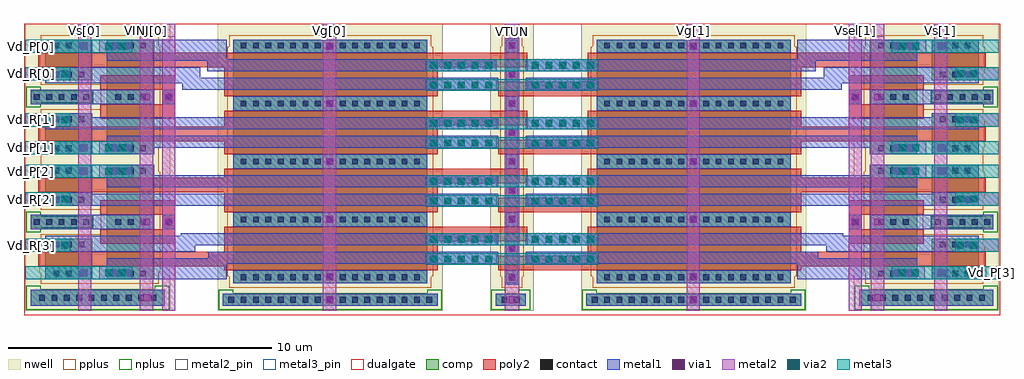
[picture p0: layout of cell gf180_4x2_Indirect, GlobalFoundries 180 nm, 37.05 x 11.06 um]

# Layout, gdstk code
import gdstk
lib = gdstk.Library(unit=1e-6, precision=1e-09)
def R(c, l, rs):  # rectangles x0, y0, x1, y1
    for r in rs: c.add(gdstk.rectangle(r[:2], r[2:], *l))
def A(c, l, x, y, w, h, nx, ny, dx, dy):  # array of equal rectangles
    R(c, l, [(x+i*dx, y+j*dy, x+i*dx+w, y+j*dy+h) for i in range(nx) for j in range(ny)])
nwell = (21, 0)
comp = (22, 0)
poly2 = (30, 0)
pplus = (31, 0)
nplus = (32, 0)
contact = (33, 0)
metal1 = (34, 0)
via1 = (35, 0)
metal2 = (36, 0)
metal2_pin = (36, 10)
via2 = (38, 0)
metal3 = (42, 0)
metal3_pin = (42, 10)
dualgate = (55, 0)

gf180_4x2_indirect = lib.new_cell('gf180_4x2_Indirect')
R(gf180_4x2_indirect, nwell, [(-2.25,-0.8,3.25,10.1), (5.05,-0.8,13.6,10.1), (15.4,-0.8,17.05,10.1), (18.85,-0.8,27.4,10.1), (29.2,-0.8,34.7,10.1)])
R(gf180_4x2_indirect, comp, [(-2.05,-0.6,3.05,0), (5.25,-0.6,13.4,-0.15), (15.6,-0.6,16.75,-0.15), (19.05,-0.6,27.2,-0.15), (29.4,-0.6,34.5,0), (5.65,0.25,13,9.5), (16,0.25,16.45,9.5), (19.45,0.25,26.8,9.5), (-1.5,0.4,0.3,1.95), (0.85,0.4,2.65,4.75), (29.8,0.4,31.6,4.75), (32.15,0.4,33.95,1.95), (-2.05,2.35,0.3,2.8), (32.15,2.35,34.5,2.8), (-1.5,3.2,0.3,4.75), (32.15,3.2,33.95,4.75), (-1.5,5.15,0.3,6.7), (0.85,5.15,2.65,9.5), (29.8,5.15,31.6,9.5), (32.15,5.15,33.95,6.7), (-2.05,7.1,0.3,7.55), (32.15,7.1,34.5,7.55), (-1.5,7.95,0.3,9.5), (32.15,7.95,33.95,9.5)])
R(gf180_4x2_indirect, poly2, [(5.3,0.75,13.4,0.9), (15.7,0.75,27.2,0.9), (-1.75,0.9,13.4,1.45), (15.7,0.9,34.2,1.3), (19.1,1.3,34.2,1.45), (5.3,1.45,13.4,1.85), (19.1,1.45,27.2,2.4), (0.6,1.75,3.45,2.3), (29,1.75,31.85,2.3), (5.3,1.85,16.8,2.4), (2.95,2.3,3.45,2.85), (29,2.3,29.5,2.85), (0.6,2.85,3.45,3.4), (29,2.85,31.85,3.4), (5.3,2.95,13.4,3.7), (15.7,2.95,27.2,3.5), (19.1,3.5,27.2,3.7), (-1.75,3.7,13.4,4.05), (19.1,3.7,34.2,4.25), (-1.75,4.05,16.8,4.25), (5.3,4.25,16.8,4.6), (19.1,4.25,27.2,4.6), (5.3,5.15,13.4,5.65), (15.7,5.15,27.2,5.65), (-1.75,5.65,13.4,6.2), (15.7,5.65,34.2,5.7), (19.1,5.7,34.2,6.2), (5.3,6.2,13.4,6.25), (19.1,6.2,27.2,6.8), (5.3,6.25,16.8,6.8), (0.6,6.5,3.45,7.05), (29,6.5,31.85,7.05), (2.95,7.05,3.45,7.6), (29,7.05,29.5,7.6), (5.3,7.35,13.4,8.45), (15.7,7.35,27.2,7.9), (0.6,7.6,3.45,8.15), (29,7.6,31.85,8.15), (19.1,7.9,27.2,8.45), (-1.75,8.45,16.8,9), (19.1,8.45,34.2,9)])
R(gf180_4x2_indirect, pplus, [(5.49,0.09,13.16,0.52), (15.84,0.09,16.61,0.52), (19.29,0.09,26.96,0.52), (-1.66,0.24,2.81,0.67), (29.64,0.24,34.11,0.67), (5.42,0.52,13.23,9.23), (15.77,0.52,16.68,9.23), (19.22,0.52,27.03,9.23), (-1.73,0.67,2.88,1.68), (29.57,0.67,34.18,1.68), (-1.66,1.68,2.88,2.11), (29.57,1.68,34.11,2.11), (0.62,2.11,2.88,3.04), (29.57,2.11,31.83,3.04), (-1.66,3.04,2.88,3.47), (29.57,3.04,34.11,3.47), (-1.73,3.47,2.88,4.48), (29.57,3.47,34.18,4.48), (-1.66,4.48,2.81,5.42), (29.64,4.48,34.11,5.42), (-1.73,5.42,2.88,6.43), (29.57,5.42,34.18,6.43), (-1.66,6.43,2.88,6.86), (29.57,6.43,34.11,6.86), (0.62,6.86,2.88,7.79), (29.57,6.86,31.83,7.79), (-1.66,7.79,2.88,8.22), (29.57,7.79,34.11,8.22), (-1.73,8.22,2.88,9.23), (29.57,8.22,34.18,9.23), (-1.66,9.23,2.81,9.66), (5.49,9.23,13.16,9.66), (15.84,9.23,16.61,9.66), (19.29,9.23,26.96,9.66), (29.64,9.23,34.11,9.66)])
R(gf180_4x2_indirect, nplus, [(-2.21,-0.76,3.21,0.02), (5.09,-0.76,13.56,-0.13), (15.44,-0.76,16.91,-0.13), (18.89,-0.76,27.36,-0.13), (29.24,-0.76,34.66,0.02), (5.09,-0.13,5.64,0.01), (13.01,-0.13,13.56,0.01), (15.44,-0.13,15.99,0.01), (16.46,-0.13,16.91,0.01), (18.89,-0.13,19.44,0.01), (26.81,-0.13,27.36,0.01), (-2.21,0.02,-1.66,0.16), (2.66,0.02,3.21,0.16), (29.24,0.02,29.79,0.16), (34.11,0.02,34.66,0.16), (-2.21,2.19,-1.66,2.33), (34.11,2.19,34.66,2.33), (-2.21,2.33,0.32,2.82), (32.13,2.33,34.66,2.82), (-2.21,2.82,-1.66,2.96), (34.11,2.82,34.66,2.96), (-2.21,6.94,-1.66,7.08), (34.11,6.94,34.66,7.08), (-2.21,7.08,0.32,7.57), (32.13,7.08,34.66,7.57), (-2.21,7.57,-1.66,7.71), (34.11,7.57,34.66,7.71)])
A(gf180_4x2_indirect, contact, 5.455, -0.485, 0.22, 0.22, 17, 1, 0.47, 0)
A(gf180_4x2_indirect, contact, 19.255, -0.485, 0.22, 0.22, 17, 1, 0.47, 0)
A(gf180_4x2_indirect, contact, -1.725, -0.41, 0.22, 0.22, 10, 1, 0.47, 0)
A(gf180_4x2_indirect, contact, 29.725, -0.41, 0.22, 0.22, 10, 1, 0.47, 0)
A(gf180_4x2_indirect, contact, 5.925, 0.365, 0.22, 0.22, 15, 5, 0.47, 2.2)
A(gf180_4x2_indirect, contact, 16.115, 0.365, 0.22, 0.22, 1, 9, 0, 1.1)
A(gf180_4x2_indirect, contact, 19.725, 0.365, 0.22, 0.22, 15, 5, 0.47, 2.2)
A(gf180_4x2_indirect, contact, -1.18, 0.515, 0.22, 0.22, 3, 2, 0.47, 1.1)
A(gf180_4x2_indirect, contact, 1.17, 0.515, 0.22, 0.22, 3, 3, 0.47, 1.95)
A(gf180_4x2_indirect, contact, 30.12, 0.515, 0.22, 0.22, 3, 3, 0.47, 1.95)
A(gf180_4x2_indirect, contact, 32.47, 0.515, 0.22, 0.22, 3, 2, 0.47, 1.1)
A(gf180_4x2_indirect, contact, -1.925, 2.465, 0.22, 0.22, 5, 2, 0.47, 4.75)
A(gf180_4x2_indirect, contact, 32.275, 2.465, 0.22, 0.22, 5, 2, 0.47, 4.75)
A(gf180_4x2_indirect, contact, -1.18, 3.315, 0.22, 0.22, 3, 2, 0.47, 1.1)
A(gf180_4x2_indirect, contact, 32.47, 3.315, 0.22, 0.22, 3, 2, 0.47, 1.1)
A(gf180_4x2_indirect, contact, -1.18, 5.265, 0.22, 0.22, 3, 2, 0.47, 1.1)
A(gf180_4x2_indirect, contact, 1.17, 5.265, 0.22, 0.22, 3, 3, 0.47, 1.95)
A(gf180_4x2_indirect, contact, 30.12, 5.265, 0.22, 0.22, 3, 3, 0.47, 1.95)
A(gf180_4x2_indirect, contact, 32.47, 5.265, 0.22, 0.22, 3, 2, 0.47, 1.1)
A(gf180_4x2_indirect, contact, -1.18, 8.065, 0.22, 0.22, 3, 2, 0.47, 1.1)
A(gf180_4x2_indirect, contact, 32.47, 8.065, 0.22, 0.22, 3, 2, 0.47, 1.1)
R(gf180_4x2_indirect, contact, [(15.83,-0.485,16.05,-0.265), (16.3,-0.485,16.52,-0.265), (3.09,2.465,3.31,2.685), (29.14,2.465,29.36,2.685), (3.09,7.215,3.31,7.435), (29.14,7.215,29.36,7.435)])
A(gf180_4x2_indirect, metal1, 15.95, 0.2, 0.55, 0.55, 1, 9, 0, 1.1)
A(gf180_4x2_indirect, metal1, 5.65, 2.4, 7.35, 0.55, 1, 3, 0, 2.2)
A(gf180_4x2_indirect, metal1, 19.45, 2.4, 7.35, 0.55, 1, 3, 0, 2.2)
R(gf180_4x2_indirect, metal1, [(-2.05,-0.6,3.05,0), (5.25,-0.6,13.4,-0.15), (15.6,-0.6,16.75,-0.15), (19.05,-0.6,27.2,-0.15), (29.4,-0.6,34.5,0), (5.65,0.25,13,0.75), (19.45,0.25,26.8,0.75), (-1.5,0.4,0.3,0.9), (0.85,0.4,5.4,1), (27.05,0.4,31.6,1), (32.15,0.4,33.95,0.9), (0.85,1,15.7,1.2), (16.75,1,31.6,1.2), (4.7,1.2,15.7,1.45), (16.75,1.2,27.85,1.45), (-1.5,1.45,4.2,1.7), (28.15,1.45,33.95,1.7), (-1.5,1.7,15.7,2.05), (16.75,1.7,33.95,2.05), (3.65,2.05,15.7,2.15), (16.75,2.05,28.8,2.15), (-2.05,2.3,2.65,2.85), (2.95,2.3,3.45,2.85), (29,2.3,29.5,2.85), (29.8,2.3,34.5,2.85), (-1.5,3.2,15.7,3.65), (16.75,3.2,33.95,3.65), (-1.5,3.65,0.3,3.7), (32.15,3.65,33.95,3.7), (0.85,3.9,15.7,4.35), (16.75,3.9,31.6,4.35), (-1.5,4.25,0.3,4.75), (32.15,4.25,33.95,4.75), (0.85,4.35,2.65,4.75), (29.8,4.35,31.6,4.75), (-1.5,5.15,0.3,5.65), (0.85,5.15,2.65,5.4), (29.8,5.15,31.6,5.4), (32.15,5.15,33.95,5.65), (0.85,5.4,15.7,5.85), (16.75,5.4,31.6,5.85), (-1.5,6.1,15.7,6.55), (16.75,6.1,33.95,6.55), (-1.5,6.55,0.3,6.7), (32.15,6.55,33.95,6.7), (-2.05,7.05,2.65,7.6), (2.95,7.05,3.45,7.6), (29,7.05,29.5,7.6), (29.8,7.05,34.5,7.6), (3.7,7.6,15.7,7.85), (16.75,7.6,28.75,7.85), (-1.5,7.85,15.7,8.05), (16.75,7.85,33.95,8.05), (-1.5,8.05,4.4,8.45), (28.05,8.05,33.95,8.45), (4.65,8.3,15.65,8.7), (16.75,8.3,27.75,8.7), (0.85,8.7,15.65,8.75), (16.75,8.7,31.6,8.75), (0.85,8.75,5.4,9.5), (27.05,8.75,31.6,9.5), (-1.5,9,0.3,9.5), (5.65,9,13,9.5), (19.45,9,26.8,9.5), (32.15,9,33.95,9.5)])
A(gf180_4x2_indirect, via1, 16.095, 0.345, 0.26, 0.26, 1, 9, 0, 1.1)
A(gf180_4x2_indirect, via1, 13.13, 1.045, 0.26, 0.26, 5, 2, 0.52, 0.75)
A(gf180_4x2_indirect, via1, 16.98, 1.045, 0.26, 0.26, 5, 2, 0.52, 0.75)
A(gf180_4x2_indirect, via1, 9.17, 2.545, 0.26, 0.26, 1, 3, 0, 2.2)
A(gf180_4x2_indirect, via1, 22.97, 2.545, 0.26, 0.26, 1, 3, 0, 2.2)
A(gf180_4x2_indirect, via1, 13.13, 3.245, 0.26, 0.26, 5, 2, 0.52, 0.75)
A(gf180_4x2_indirect, via1, 16.98, 3.245, 0.26, 0.26, 5, 2, 0.52, 0.75)
A(gf180_4x2_indirect, via1, 13.13, 5.445, 0.26, 0.26, 5, 2, 0.52, 0.75)
A(gf180_4x2_indirect, via1, 16.98, 5.445, 0.26, 0.26, 5, 2, 0.52, 0.75)
A(gf180_4x2_indirect, via1, 13.13, 7.645, 0.26, 0.26, 5, 2, 0.52, 0.75)
A(gf180_4x2_indirect, via1, 16.98, 7.645, 0.26, 0.26, 5, 2, 0.52, 0.75)
R(gf180_4x2_indirect, via1, [(9.17,-0.505,9.43,-0.245), (16.095,-0.505,16.355,-0.245), (22.97,-0.505,23.23,-0.245), (2.22,-0.43,2.48,-0.17), (29.97,-0.43,30.23,-0.17), (9.17,0.37,9.43,0.63), (22.97,0.37,23.23,0.63), (-0.155,0.52,0.105,0.78), (0.935,0.52,1.195,0.78), (1.455,0.52,1.715,0.78), (30.735,0.52,30.995,0.78), (31.255,0.52,31.515,0.78), (32.37,0.52,32.63,0.78), (-1.415,1.57,-1.155,1.83), (-0.895,1.57,-0.635,1.83), (33.11,1.57,33.37,1.83), (33.63,1.57,33.89,1.83), (2.22,2.445,2.48,2.705), (3.07,2.445,3.33,2.705), (29.12,2.445,29.38,2.705), (29.97,2.445,30.23,2.705), (-1.415,3.32,-1.155,3.58), (-0.895,3.32,-0.635,3.58), (33.11,3.32,33.37,3.58), (33.63,3.32,33.89,3.58), (-0.155,4.37,0.105,4.63), (0.935,4.37,1.195,4.63), (1.455,4.37,1.715,4.63), (30.735,4.37,30.995,4.63), (31.255,4.37,31.515,4.63), (32.37,4.37,32.63,4.63), (-0.155,5.27,0.105,5.53), (0.935,5.27,1.195,5.53), (1.455,5.27,1.715,5.53), (30.735,5.27,30.995,5.53), (31.255,5.27,31.515,5.53), (32.37,5.27,32.63,5.53), (-1.415,6.32,-1.155,6.58), (-0.895,6.32,-0.635,6.58), (33.11,6.32,33.37,6.58), (33.63,6.32,33.89,6.58), (2.22,7.195,2.48,7.455), (3.07,7.195,3.33,7.455), (29.12,7.195,29.38,7.455), (29.97,7.195,30.23,7.455), (-1.415,8.07,-1.155,8.33), (-0.895,8.07,-0.635,8.33), (33.11,8.07,33.37,8.33), (33.63,8.07,33.89,8.33), (-0.155,9.12,0.105,9.38), (0.935,9.12,1.195,9.38), (1.455,9.12,1.715,9.38), (9.17,9.12,9.43,9.38), (22.97,9.12,23.23,9.38), (30.735,9.12,30.995,9.38), (31.255,9.12,31.515,9.38), (32.37,9.12,32.63,9.38)])
R(gf180_4x2_indirect, metal2, [(-0.25,-0.8,0.25,10.1), (2.1,-0.8,2.6,10.1), (2.95,-0.8,3.45,10.1), (9.05,-0.8,9.55,10.1), (15.95,-0.8,16.5,10.1), (22.85,-0.8,23.35,10.1), (29,-0.8,29.5,10.1), (29.85,-0.8,30.35,10.1), (32.25,-0.8,32.75,10.1), (0.55,0.4,1.8,0.9), (30.65,0.4,31.9,0.9), (12.95,0.95,15.65,1.4), (16.8,0.95,19.5,1.4), (-2.25,1.45,-0.55,1.95), (33.05,1.45,34.7,1.95), (12.95,1.7,15.65,2.15), (16.8,1.7,19.5,2.15), (12.95,3.15,15.65,3.6), (16.8,3.15,19.5,3.6), (-2.25,3.2,-0.55,3.7), (33.05,3.2,34.7,3.7), (12.95,3.9,15.65,4.35), (16.8,3.9,19.5,4.35), (0.55,4.25,1.8,4.75), (30.65,4.25,31.95,4.75), (0.55,5.15,1.8,5.65), (30.65,5.15,31.95,5.65), (12.95,5.35,15.65,5.8), (16.8,5.35,19.5,5.8), (12.95,6.1,15.65,6.55), (16.8,6.1,19.5,6.55), (-2.25,6.2,-0.55,6.7), (33.05,6.2,34.7,6.7), (12.95,7.55,15.65,8), (16.8,7.55,19.5,8), (-2.25,7.95,-0.55,8.45), (33.05,7.95,34.7,8.45), (12.95,8.3,15.65,8.75), (16.8,8.3,19.5,8.75), (0.55,9,1.8,9.5), (30.65,9,31.95,9.5)])
R(gf180_4x2_indirect, metal2_pin, [(15.95,9.55,16.5,10.1), (-0.25,9.6,0.25,10.1), (2.1,9.6,2.6,10.1), (2.95,9.6,3.45,10.1), (9.05,9.6,9.55,10.1), (22.85,9.6,23.35,10.1), (29,9.6,29.5,10.1), (29.85,9.6,30.35,10.1), (32.25,9.6,32.75,10.1)])
A(gf180_4x2_indirect, via2, 13.13, 1.045, 0.26, 0.26, 5, 2, 0.52, 0.75)
A(gf180_4x2_indirect, via2, 16.98, 1.045, 0.26, 0.26, 5, 2, 0.52, 0.75)
A(gf180_4x2_indirect, via2, 13.13, 3.245, 0.26, 0.26, 5, 2, 0.52, 0.75)
A(gf180_4x2_indirect, via2, 16.98, 3.245, 0.26, 0.26, 5, 2, 0.52, 0.75)
A(gf180_4x2_indirect, via2, 13.13, 5.445, 0.26, 0.26, 5, 2, 0.52, 0.75)
A(gf180_4x2_indirect, via2, 16.98, 5.445, 0.26, 0.26, 5, 2, 0.52, 0.75)
A(gf180_4x2_indirect, via2, 13.13, 7.645, 0.26, 0.26, 5, 2, 0.52, 0.75)
A(gf180_4x2_indirect, via2, 16.98, 7.645, 0.26, 0.26, 5, 2, 0.52, 0.75)
R(gf180_4x2_indirect, via2, [(0.785,0.52,1.045,0.78), (1.305,0.52,1.565,0.78), (30.885,0.52,31.145,0.78), (31.405,0.52,31.665,0.78), (-1.415,1.57,-1.155,1.83), (-0.895,1.57,-0.635,1.83), (33.11,1.57,33.37,1.83), (33.63,1.57,33.89,1.83), (-1.415,3.32,-1.155,3.58), (-0.895,3.32,-0.635,3.58), (33.11,3.32,33.37,3.58), (33.63,3.32,33.89,3.58), (0.785,4.37,1.045,4.63), (1.305,4.37,1.565,4.63), (30.91,4.37,31.17,4.63), (31.43,4.37,31.69,4.63), (0.785,5.27,1.045,5.53), (1.305,5.27,1.565,5.53), (30.91,5.27,31.17,5.53), (31.43,5.27,31.69,5.53), (-1.415,6.32,-1.155,6.58), (-0.895,6.32,-0.635,6.58), (33.11,6.32,33.37,6.58), (33.63,6.32,33.89,6.58), (-1.415,8.07,-1.155,8.33), (-0.895,8.07,-0.635,8.33), (33.11,8.07,33.37,8.33), (33.63,8.07,33.89,8.33), (0.785,9.12,1.045,9.38), (1.305,9.12,1.565,9.38), (30.91,9.12,31.17,9.38), (31.43,9.12,31.69,9.38)])
R(gf180_4x2_indirect, metal3, [(-2.25,0.4,1.8,0.9), (30.65,0.4,34.7,0.9), (12.95,0.95,19.5,1.4), (-2.25,1.45,-0.55,1.95), (33.05,1.45,34.7,1.95), (12.95,1.7,19.5,2.15), (12.95,3.15,19.5,3.6), (-2.25,3.2,-0.55,3.7), (33.05,3.2,34.7,3.7), (12.95,3.9,19.5,4.35), (-2.25,4.25,1.8,4.75), (30.65,4.25,34.7,4.75), (-2.25,5.15,1.8,5.65), (30.65,5.15,34.7,5.65), (12.95,5.35,19.5,5.8), (12.95,6.1,19.5,6.55), (-2.25,6.2,-0.55,6.7), (33.05,6.2,34.7,6.7), (12.95,7.55,19.5,8), (-2.25,7.95,-0.55,8.45), (33.05,7.95,34.7,8.45), (12.95,8.3,19.5,8.75), (-2.25,9,1.8,9.5), (30.65,9,34.7,9.5)])
R(gf180_4x2_indirect, metal3_pin, [(34.2,0.4,34.7,0.9), (-2.25,1.45,-1.75,1.95), (-2.25,3.2,-1.75,3.7), (-2.25,4.25,-1.75,4.75), (-2.25,5.15,-1.75,5.65), (-2.25,6.2,-1.75,6.7), (-2.25,7.95,-1.75,8.45), (-2.25,9,-1.75,9.5)])
R(gf180_4x2_indirect, dualgate, [(-2.3,-0.96,34.75,10.1), (-2.25,-0.96,34.7,-0.8), (-2.25,-0.8,3.45,10.1), (-2.25,-0.8,34.7,10.1), (5.05,-0.8,13.6,10.1), (15.4,-0.8,17.05,10.1), (18.85,-0.8,27.4,10.1), (29,-0.8,34.7,10.1)])
gf180_4x2_indirect.add(gdstk.Label('VTUN', (16.225,9.825), layer=36, texttype=10))
gf180_4x2_indirect.add(gdstk.Label('Vs[0]', (0,9.85), layer=36, texttype=10))
gf180_4x2_indirect.add(gdstk.Label('VINJ[0]', (2.35,9.85), layer=36, texttype=10))
gf180_4x2_indirect.add(gdstk.Label('Vsel[0]', (3.2,9.85), layer=36, texttype=10))
gf180_4x2_indirect.add(gdstk.Label('Vg[0]', (9.3,9.85), layer=36, texttype=10))
gf180_4x2_indirect.add(gdstk.Label('Vg[1]', (23.1,9.85), layer=36, texttype=10))
gf180_4x2_indirect.add(gdstk.Label('Vsel[1]', (29.25,9.85), layer=36, texttype=10))
gf180_4x2_indirect.add(gdstk.Label('VINJ[1]', (30.1,9.85), layer=36, texttype=10))
gf180_4x2_indirect.add(gdstk.Label('Vs[1]', (32.5,9.85), layer=36, texttype=10))
gf180_4x2_indirect.add(gdstk.Label('Vd_P[0]', (-2,9.25), layer=42, texttype=10))
gf180_4x2_indirect.add(gdstk.Label('Vd_R[0]', (-2,8.2), layer=42, texttype=10))
gf180_4x2_indirect.add(gdstk.Label('Vd_R[1]', (-2,6.45), layer=42, texttype=10))
gf180_4x2_indirect.add(gdstk.Label('Vd_P[1]', (-2,5.4), layer=42, texttype=10))
gf180_4x2_indirect.add(gdstk.Label('Vd_P[2]', (-2,4.5), layer=42, texttype=10))
gf180_4x2_indirect.add(gdstk.Label('Vd_R[2]', (-2,3.45), layer=42, texttype=10))
gf180_4x2_indirect.add(gdstk.Label('Vd_R[3]', (-2,1.7), layer=42, texttype=10))
gf180_4x2_indirect.add(gdstk.Label('Vd_P[3]', (34.45,0.65), layer=42, texttype=10))

lib.write_gds('gf180_4x2_Indirect.gds')
